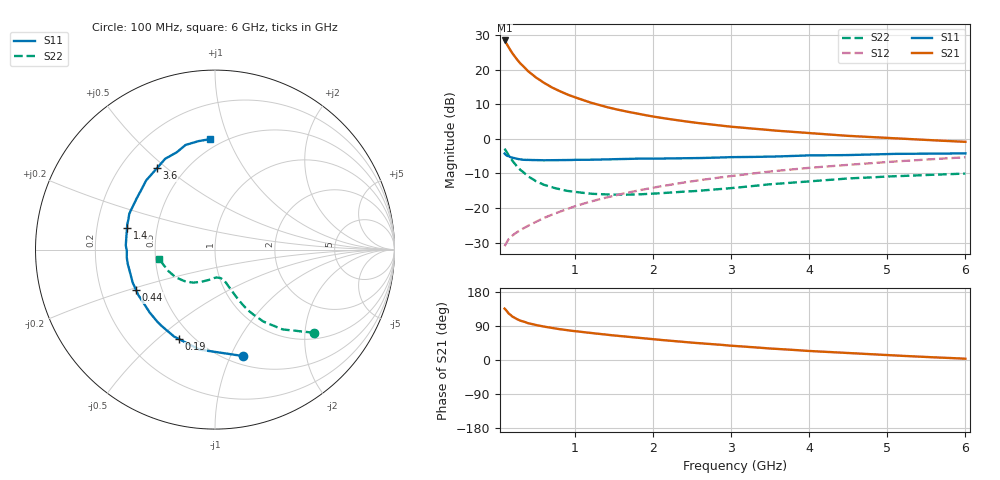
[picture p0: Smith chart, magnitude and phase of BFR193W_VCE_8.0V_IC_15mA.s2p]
! Infineon Technologies  Discrete & RF Semiconductors
! BFR193W
! VCE =  8.0 V,  IC =  15 mA
! Common Emitter S-Parameters:  Nov 2015
# GHz  S  MA  R  50
!  f  S11  S21  S12  S22
! GHz  MAG  ANG  MAG  ANG  MAG  ANG  MAG  ANG
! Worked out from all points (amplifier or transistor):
!   192 points, 100 MHz to 6 GHz, reference 50 ohm
!   highest |S21| = 28.4 dB at 100 MHz (marker M1)
!   |S21| within 3 dB of that: start of sweep to 180.2 MHz
!   unconditionally stable (mu >= 1): 878.9 MHz to 2.605 GHz
!   at 440 MHz: K = 0.81, MSG = 21.7 dB, |S12| = -24.7 dB
!   at 1.7 GHz: K = 1.03, MAG = 10.5 dB, |S12| = -15.4 dB
!   at 6 GHz: K = 0.90, MSG = 2.2 dB, |S12| = -5.3 dB
!   S11 on the Smith chart (normalised r, x): 100 MHz: 0.59, -1.11; 190 MHz: 0.42, -0.59; 440 MHz: 0.36, -0.21; 1.4 GHz: 0.33, +0.11; 3.6 GHz: 0.35, +0.46; 6 GHz: 0.43, +0.86
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0.1  0.613 -75.3  26.29 135.5  0.0282 60.5  0.7224 -39.9
0.15  0.5637 -98.9  20.98 123.0  0.0353 55.1  0.5819 -49.8
0.19  0.5375 -111.8  17.87 116.5  0.0391 53.5  0.5017 -54.6
0.2  0.5354 -115.2  17.14 114.5  0.0401 53.1  0.4823 -56.1
0.24  0.5193 -124.7  14.88 109.9  0.0435 52.8  0.4223 -59.3
0.26  0.5141 -128.9  13.92 107.7  0.045 52.8  0.3975 -60.7
0.3  0.5052 -136.1  12.29 103.9  0.048 53.4  0.3578 -62.7
0.4  0.4966 -149.5  9.466 97.1  0.0554 55.7  0.2872 -66.0
0.44  0.4941 -153.0  8.749 95.4  0.0585 56.7  0.2703 -66.7
0.5  0.4939 -158.4  7.691 92.2  0.0633 58.0  0.245 -67.8
0.6  0.4899 -165.1  6.469 88.2  0.0717 59.9  0.2176 -69.9
0.7  0.4925 -170.5  5.559 84.7  0.0798 61.5  0.1999 -71.1
0.9  0.4913 -179.0  4.371 78.7  0.0972 63.6  0.1773 -73.8
1.1  0.4975 174.2  3.648 73.9  0.115 64.6  0.1662 -77.3
1.4  0.5041 166.3  2.886 66.9  0.1417 65.1  0.1575 -82.8
1.78  0.5169 157.7  2.327 59.0  0.1767 64.5  0.1572 -90.5
2.08  0.5181 150.9  2.03 53.3  0.2043 63.5  0.1636 -96.0
3.1  0.5448 133.3  1.461 36.4  0.2992 57.6  0.1988 -115.0
3.6  0.5565 125.6  1.306 29.1  0.346 53.8  0.2248 -125.7
4.1  0.5774 117.3  1.187 22.8  0.3889 49.7  0.2477 -136.0
5.1  0.606 104.3  1.018 11.9  0.4708 41.7  0.2881 -157.1
6  0.6161 92.5  0.905 3.4  0.5418 34.0  0.3148 -170.1
